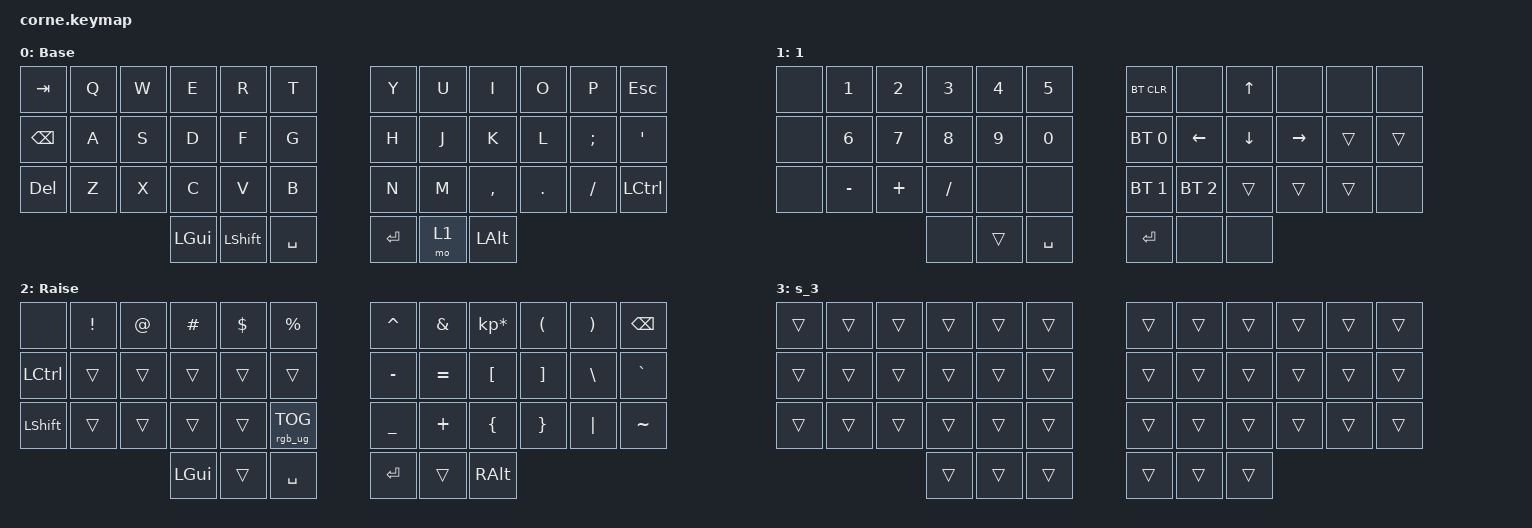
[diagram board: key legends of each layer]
/*
 * Copyright (c) 2020 The ZMK Contributors
 *
 * SPDX-License-Identifier: MIT
 */

#include <behaviors.dtsi>
#include <dt-bindings/zmk/bt.h>
#include <dt-bindings/zmk/keys.h>
#include <dt-bindings/zmk/rgb.h>

/ {
    combos {
        compatible = "zmk,combos";

        Screen {
            bindings = <&kp PRINTSCREEN>;
            key-positions = <35 34>;
            timeout-ms = <5>;
            require-prior-idle-ms = <5>;
            layers = <0>;
            slow-release;
        };
    };

    keymap {
        compatible = "zmk,keymap";

        s_0 {
            // -----------------------------------------------------------------------------------------
            // |  TAB |  Q  |  W  |  E  |  R  |  T  |   |  Y  |  U   |  I  |  O  |  P  | BKSP |
            // | CTRL |  A  |  S  |  D  |  F  |  G  |   |  H  |  J   |  K  |  L  |  ;  |  '   |
            // | SHFT |  Z  |  X  |  C  |  V  |  B  |   |  N  |  M   |  ,  |  .  |  /  | ESC  |
            //                    | GUI | LWR | SPC |   | ENT | RSE  | ALT |

            display-name = "Base";
            bindings = <
&kp TAB        &kp Q  &kp W  &kp E     &kp R           &kp T        &kp Y    &kp U  &kp I         &kp O    &kp P     &kp ESC
&kp BACKSPACE  &kp A  &kp S  &kp D     &kp F           &kp G        &kp H    &kp J  &kp K         &kp L    &kp SEMI  &kp SQT
&kp DEL        &kp Z  &kp X  &kp C     &kp V           &kp B        &kp N    &kp M  &kp COMMA     &kp DOT  &kp FSLH  &kp LCTRL
                             &kp LGUI  &kp LEFT_SHIFT  &kp SPACE    &kp RET  &mo 1  &kp LEFT_ALT
            >;
        };

        s_1 {
            // -----------------------------------------------------------------------------------------
            // |  TAB |  1  |  2  |  3  |  4  |  5  |   |  6  |  7  |  8  |  9  |  0  | BKSP |
            // | BTCLR| BT1 | BT2 | BT3 | BT4 | BT5 |   | LFT | DWN |  UP | RGT |     |      |
            // | SHFT |     |     |     |     |     |   |     |     |     |     |     |      |
            //                    | GUI |     | SPC |   | ENT |     | ALT |

            display-name = "1";
            bindings = <
&none  &kp N1        &kp N2        &kp N3        &kp N4        &kp N5          &bt BT_CLR    &none           &kp UP_ARROW    &none      &none   &none
&none  &kp NUMBER_6  &kp NUMBER_7  &kp NUMBER_8  &kp NUMBER_9  &kp NUMBER_0    &bt BT_SEL 0  &kp LEFT_ARROW  &kp DOWN_ARROW  &kp RIGHT  &trans  &trans
&none  &kp MINUS     &kp PLUS      &kp FSLH      &none         &none           &bt BT_SEL 1  &bt BT_SEL 2    &trans          &trans     &trans  &none
                                   &none         &trans        &kp SPACE       &kp RET       &none           &none
            >;
        };

        s_2 {
            // -----------------------------------------------------------------------------------------
            // |  TAB |  !  |  @  |  #  |  $  |  %  |   |  ^  |  &  |  *  |  (  |  )  | BKSP |
            // | CTRL |     |     |     |     |     |   |  -  |  =  |  [  |  ]  |  \  |  `   |
            // | SHFT |     |     |     |     |     |   |  _  |  +  |  {  |  }  | "|" |  ~   |
            //                    | GUI |     | SPC |   | ENT |     | ALT |

            display-name = "Raise";
            bindings = <
&none      &kp EXCL  &kp AT  &kp HASH  &kp DLLR  &kp PRCNT          &kp CARET  &kp AMPS   &kp KP_MULTIPLY  &kp LPAR  &kp RPAR  &kp BSPC
&kp LCTRL  &trans    &trans  &trans    &trans    &trans             &kp MINUS  &kp EQUAL  &kp LBKT         &kp RBKT  &kp BSLH  &kp GRAVE
&kp LSHFT  &trans    &trans  &trans    &trans    &rgb_ug RGB_TOG    &kp UNDER  &kp PLUS   &kp LBRC         &kp RBRC  &kp PIPE  &kp TILDE
                             &kp LGUI  &trans    &kp SPACE          &kp RET    &trans     &kp RALT
            >;
        };

        s_3 {
            bindings = <
&trans  &trans  &trans  &trans  &trans  &trans    &trans  &trans  &trans  &trans  &trans  &trans
&trans  &trans  &trans  &trans  &trans  &trans    &trans  &trans  &trans  &trans  &trans  &trans
&trans  &trans  &trans  &trans  &trans  &trans    &trans  &trans  &trans  &trans  &trans  &trans
                        &trans  &trans  &trans    &trans  &trans  &trans
            >;
        };
    };
};
